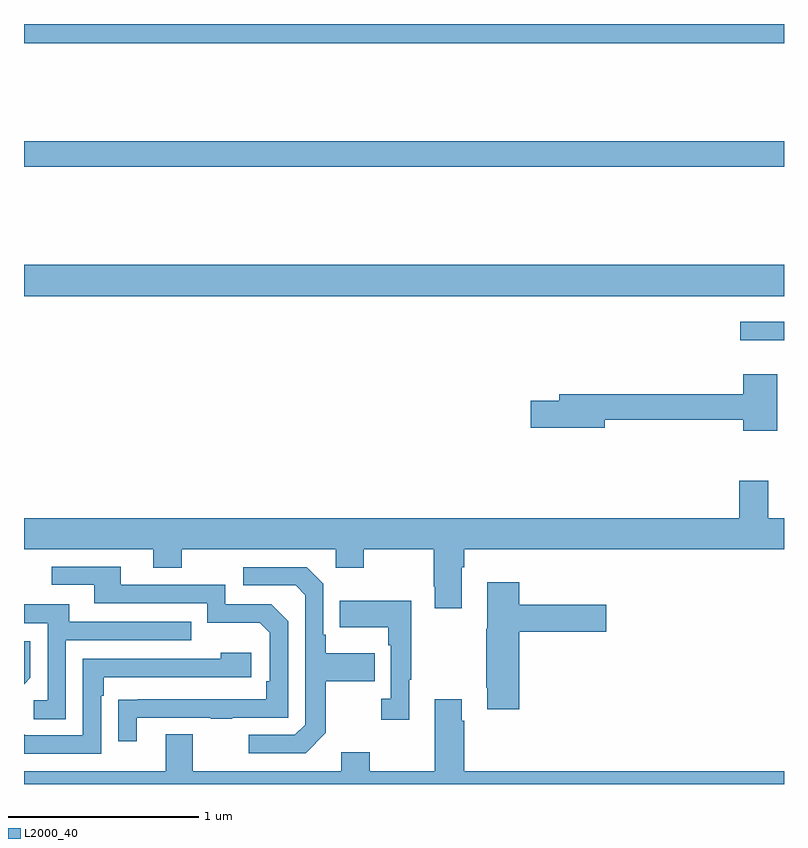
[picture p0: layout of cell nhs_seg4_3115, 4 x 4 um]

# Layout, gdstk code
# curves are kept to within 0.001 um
import gdstk
lib = gdstk.Library(unit=1e-6, precision=1e-09)
def R(c, l, rs):  # rectangles x0, y0, x1, y1
    for r in rs: c.add(gdstk.rectangle(r[:2], r[2:], *l))
def P(c, l, *ps):  # polygons
    for p in ps: c.add(gdstk.Polygon(p, *l))
L2000_40 = (2000, 40)

nhs_seg4_3115 = lib.new_cell('nhs_seg4_3115')
R(nhs_seg4_3115, L2000_40, [(278.769,815.235,279,815.332), (275,815.468,279,815.632), (275,816.148,279,816.284), (275,816.8,279,816.9)])
P(nhs_seg4_3115, L2000_40, [(278.965,815.056),(278.786,815.056),(278.786,814.952),(277.817,814.952),(277.817,814.916),(277.668,814.916),(277.668,814.774),(278.056,814.774),(278.056,814.816),(278.786,814.816),(278.786,814.76),(278.965,814.76)],
  [(277.303,814.04),(277.316,814.04),(277.316,814.136),(279,814.136),(279,814.3),(278.917,814.3),(278.917,814.495),(278.765,814.495),(278.765,814.3),(275,814.3),(275,814.136),(275.681,814.136),(275.681,814.037),(275.829,814.037),(275.829,814.136),(276.642,814.136),(276.642,814.037),(276.789,814.037),(276.789,814.136),(277.156,814.136),(277.156,813.937),(277.163,813.937),(277.163,813.825),(277.303,813.825)],
  [(275.593,813.249),(275.983,813.249),(275.983,813.244),(276.095,813.244),(276.095,813.249),(276.39,813.249),(276.39,813.756),(276.3,813.846),(276.06,813.846),(276.06,813.948),(275.509,813.948),(275.509,814.044),(275.145,814.044),(275.145,813.948),(275.369,813.948),(275.369,813.852),(275.964,813.852),(275.964,813.749),(276.241,813.749),(276.294,813.696),(276.294,813.442),(276.274,813.442),(276.274,813.345),(275.497,813.344),(275.497,813.126),(275.593,813.126)],
  [(276.589,813.169),(276.589,813.442),(276.845,813.442),(276.845,813.589),(276.589,813.589),(276.589,813.685),(276.576,813.685),(276.576,813.954),(276.489,814.041),(276.153,814.041),(276.153,813.945),(276.429,813.945),(276.48,813.894),(276.48,813.213),(276.426,813.159),(276.183,813.159),(276.183,813.063),(276.483,813.063)],
  [(277.607,813.701),(278.065,813.701),(278.065,813.843),(277.607,813.843),(277.607,813.961),(277.439,813.961),(277.439,813.717),(277.432,813.717),(277.432,813.406),(277.439,813.406),(277.439,813.294),(277.607,813.294)],
  [(277.027,813.449),(277.039,813.449),(277.039,813.865),(276.661,813.865),(276.661,813.725),(276.918,813.725),(276.918,813.629),(276.93,813.629),(276.93,813.35),(276.879,813.35),(276.879,813.237),(277.027,813.237)],
  [(275.22,813.657),(275.879,813.657),(275.879,813.753),(275.239,813.753),(275.239,813.847),(275,813.847),(275,813.747),(275.124,813.747),(275.124,813.342),(275.052,813.342),(275.052,813.241),(275.22,813.241)],
  [(275.034,813.458),(275.034,813.652),(275,813.652),(275,813.424)],
  [(275.406,813.365),(275.419,813.365),(275.419,813.462),(276.196,813.462),(276.196,813.592),(276.035,813.592),(276.035,813.558),(275.31,813.558),(275.31,813.156),(275.007,813.156),(275,813.163),(275,813.06),(275.406,813.06)],
  [(279,812.968),(277.316,812.968),(277.316,813.233),(277.303,813.233),(277.303,813.346),(277.163,813.346),(277.163,812.968),(276.819,812.968),(276.819,813.067),(276.671,813.067),(276.671,812.968),(275.887,812.968),(275.887,813.163),(275.747,813.163),(275.747,812.968),(275,812.968),(275,812.9),(279,812.9)])

lib.write_gds('nhs_seg4_3115.gds')
